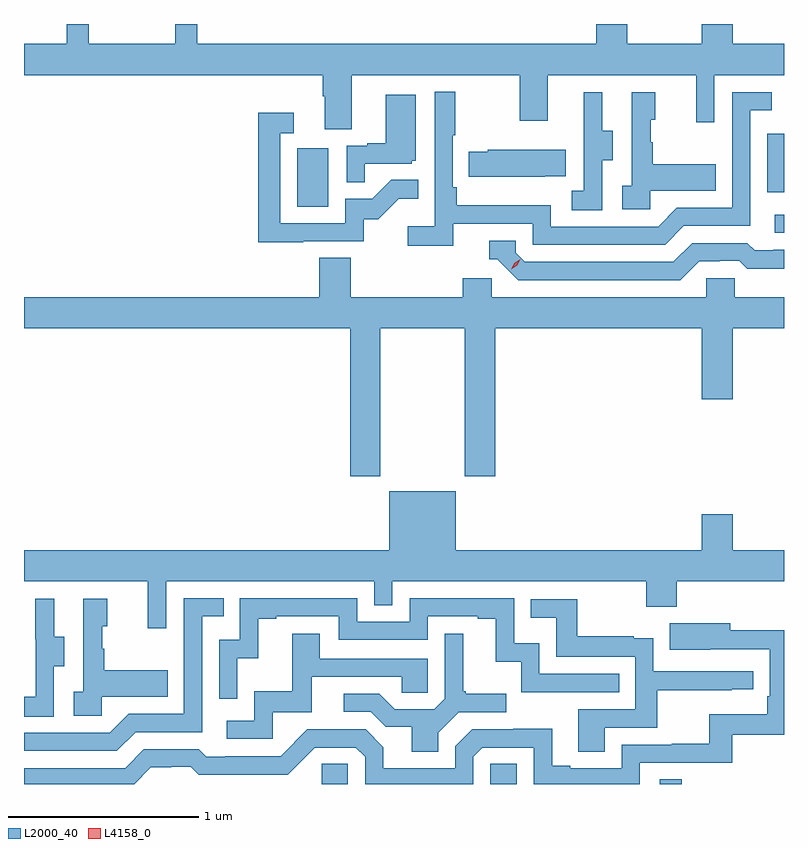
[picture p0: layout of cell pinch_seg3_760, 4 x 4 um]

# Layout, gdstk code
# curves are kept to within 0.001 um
import gdstk
lib = gdstk.Library(unit=1e-6, precision=1e-09)
def R(c, l, rs):  # rectangles x0, y0, x1, y1
    for r in rs: c.add(gdstk.rectangle(r[:2], r[2:], *l))
def P(c, l, *ps):  # polygons
    for p in ps: c.add(gdstk.Polygon(p, *l))
L2000_40 = (2000, 40)
L4158_0 = (4158, 0)

pinch_seg3_760 = lib.new_cell('pinch_seg3_760')
R(pinch_seg3_760, L2000_40, [(822.349,743.805,822.486,743.912), (823.236,743.805,823.375,743.912), (824.127,743.805,824.243,743.831), (824.733,746.706,824.781,746.802), (822.218,746.844,822.382,747.151), (824.694,746.919,824.781,747.228)])
P(pinch_seg3_760, L2000_40, [(822.505,747.536),(823.39,747.536),(823.39,747.297),(823.537,747.297),(823.537,747.536),(824.318,747.536),(824.318,747.288),(824.415,747.288),(824.415,747.536),(824.781,747.536),(824.781,747.7),(824.512,747.7),(824.512,747.805),(824.348,747.805),(824.348,747.7),(823.957,747.7),(823.957,747.805),(823.793,747.805),(823.793,747.7),(821.693,747.7),(821.693,747.805),(821.576,747.805),(821.576,747.7),(821.123,747.7),(821.123,747.805),(821.005,747.805),(821.005,747.7),(820.781,747.7),(820.781,747.536),(822.353,747.536),(822.353,747.424),(822.365,747.424),(822.365,747.25),(822.505,747.25)],
  [(823.04,746.754),(823.458,746.754),(823.458,746.643),(824.155,746.643),(824.254,746.742),(824.604,746.742),(824.604,747.351),(824.717,747.351),(824.717,747.447),(824.508,747.447),(824.508,746.838),(824.217,746.838),(824.118,746.739),(823.554,746.739),(823.554,746.851),(823.058,746.851),(823.058,746.947),(823.038,746.947),(823.038,747.22),(823.051,747.22),(823.051,747.448),(822.942,747.448),(822.942,746.74),(822.801,746.74),(822.801,746.638),(823.04,746.638)],
  [(824.076,746.927),(824.423,746.927),(824.423,747.067),(824.089,747.067),(824.089,747.182),(824.079,747.182),(824.079,747.3),(824.104,747.3),(824.104,747.445),(823.98,747.445),(823.98,746.954),(823.929,746.954),(823.929,746.829),(824.076,746.829)],
  [(823.824,747.088),(823.879,747.088),(823.879,747.243),(823.825,747.243),(823.825,747.445),(823.727,747.445),(823.727,747.231),(823.728,747.231),(823.728,746.927),(823.665,746.927),(823.665,746.824),(823.824,746.824)],
  [(822.575,747.069),(822.822,747.069),(822.822,747.084),(822.844,747.084),(822.844,747.433),(822.686,747.433),(822.686,747.178),(822.587,747.178),(822.587,747.165),(822.48,747.165),(822.48,746.971),(822.575,746.971)],
  [(822.251,746.661),(822.57,746.661),(822.57,746.778),(822.646,746.778),(822.753,746.885),(822.857,746.885),(822.857,746.984),(822.713,746.984),(822.615,746.886),(822.471,746.886),(822.471,746.757),(822.129,746.757),(822.129,747.231),(822.202,747.231),(822.202,747.337),(822.013,747.337),(822.013,746.656),(822.251,746.656)],
  [(823.523,747.005),(823.631,747.005),(823.631,747.142),(823.221,747.142),(823.221,747.132),(823.123,747.132),(823.123,747.002),(823.523,747.002)],
  [(824.335,746.556),(824.442,746.556),(824.442,746.559),(824.545,746.559),(824.587,746.517),(824.781,746.517),(824.781,746.616),(824.725,746.616),(824.725,746.613),(824.626,746.613),(824.587,746.652),(824.298,746.652),(824.199,746.553),(823.416,746.553),(823.368,746.601),(823.368,746.664),(823.229,746.664),(823.229,746.568),(823.272,746.568),(823.383,746.457),(824.236,746.457)],
  [(822.657,746.204),(823.102,746.204),(823.102,745.425),(823.262,745.425),(823.262,746.204),(824.348,746.204),(824.348,745.83),(824.512,745.83),(824.512,746.204),(824.781,746.204),(824.781,746.368),(824.523,746.368),(824.523,746.466),(824.373,746.466),(824.373,746.368),(823.242,746.368),(823.242,746.466),(823.091,746.466),(823.091,746.368),(822.5,746.368),(822.5,746.576),(822.335,746.576),(822.335,746.368),(820.781,746.368),(820.781,746.204),(822.497,746.204),(822.497,745.425),(822.657,745.425)],
  [(821.529,744.872),(822.624,744.872),(822.624,744.745),(822.72,744.745),(822.72,744.872),(824.056,744.872),(824.056,744.737),(824.216,744.737),(824.216,744.872),(824.781,744.872),(824.781,745.036),(824.512,745.036),(824.512,745.225),(824.348,745.225),(824.348,745.036),(823.054,745.036),(823.054,745.345),(822.704,745.345),(822.704,745.036),(820.781,745.036),(820.781,744.872),(821.432,744.872),(821.432,744.624),(821.529,744.624)],
  [(821.904,744.467),(822.014,744.467),(822.014,744.675),(822.109,744.675),(822.109,744.687),(822.438,744.687),(822.438,744.564),(822.906,744.564),(822.906,744.687),(823.169,744.687),(823.169,744.675),(823.265,744.675),(823.265,744.449),(823.398,744.449),(823.398,744.288),(823.913,744.288),(823.913,744.384),(823.494,744.384),(823.494,744.547),(823.362,744.547),(823.362,744.783),(822.81,744.783),(822.81,744.66),(822.534,744.66),(822.534,744.783),(821.916,744.783),(821.916,744.564),(821.808,744.564),(821.808,744.255),(821.904,744.255)],
  [(821.368,744.078),(821.718,744.078),(821.718,744.687),(821.831,744.687),(821.831,744.783),(821.622,744.783),(821.622,744.174),(821.331,744.174),(821.232,744.075),(820.781,744.075),(820.781,743.979),(821.269,743.979)],
  [(820.938,744.424),(820.993,744.424),(820.993,744.579),(820.939,744.579),(820.939,744.781),(820.841,744.781),(820.841,744.567),(820.842,744.567),(820.842,744.263),(820.781,744.263),(820.781,744.16),(820.938,744.16)],
  [(821.19,744.263),(821.537,744.263),(821.537,744.403),(821.203,744.403),(821.203,744.518),(821.193,744.518),(821.193,744.636),(821.218,744.636),(821.218,744.781),(821.094,744.781),(821.094,744.29),(821.043,744.29),(821.043,744.165),(821.19,744.165)],
  [(823.837,744.102),(824.114,744.102),(824.114,744.298),(824.507,744.298),(824.507,744.303),(824.62,744.303),(824.62,744.399),(824.094,744.399),(824.094,744.571),(823.991,744.571),(823.991,744.583),(823.693,744.583),(823.693,744.777),(823.447,744.777),(823.447,744.68),(823.582,744.68),(823.582,744.474),(823.998,744.474),(823.998,744.198),(823.697,744.198),(823.697,743.974),(823.837,743.974)],
  [(821.449,743.892),(821.556,743.892),(821.556,743.895),(821.659,743.895),(821.701,743.853),(821.934,743.853),(821.934,743.855),(822.17,743.855),(822.312,743.997),(822.528,743.997),(822.576,743.949),(822.576,743.805),(823.146,743.805),(823.146,743.949),(823.194,743.997),(823.464,743.997),(823.464,743.805),(824.022,743.805),(824.022,743.916),(824.509,743.916),(824.509,744.063),(824.781,744.063),(824.781,744.614),(824.497,744.614),(824.497,744.652),(824.179,744.652),(824.179,744.512),(824.706,744.513),(824.706,744.268),(824.693,744.268),(824.693,744.172),(824.388,744.172),(824.388,744.017),(824.191,744.017),(824.191,744.012),(823.926,744.012),(823.926,743.889),(823.657,743.889),(823.657,743.902),(823.561,743.902),(823.561,744.095),(823.356,744.095),(823.356,744.093),(823.14,744.093),(823.05,744.003),(823.05,743.889),(822.673,743.889),(822.673,743.999),(822.579,744.093),(822.273,744.093),(822.132,743.952),(821.839,743.952),(821.839,743.949),(821.74,743.949),(821.701,743.988),(821.412,743.988),(821.313,743.889),(820.781,743.889),(820.781,743.805),(821.362,743.805)],
  [(822.961,744.076),(823.068,744.183),(823.318,744.183),(823.318,744.28),(823.105,744.28),(823.105,744.292),(823.093,744.292),(823.093,744.595),(822.996,744.595),(822.996,744.255),(822.939,744.198),(822.733,744.198),(822.652,744.279),(822.465,744.279),(822.465,744.186),(822.606,744.186),(822.686,744.106),(822.821,744.106),(822.821,743.974),(822.961,743.974)],
  [(822.09,744.183),(822.295,744.183),(822.295,744.369),(822.769,744.369),(822.769,744.285),(822.906,744.285),(822.906,744.465),(822.337,744.465),(822.337,744.595),(822.193,744.595),(822.193,744.292),(821.994,744.292),(821.994,744.138),(821.847,744.138),(821.847,744.042),(822.09,744.042)])
P(pinch_seg3_760, L4158_0, [(823.346,746.515),(823.346,746.515),(823.362,746.547),(823.392,746.566),(823.392,746.566),(823.392,746.566),(823.376,746.534),(823.346,746.515)])

lib.write_gds('pinch_seg3_760.gds')
